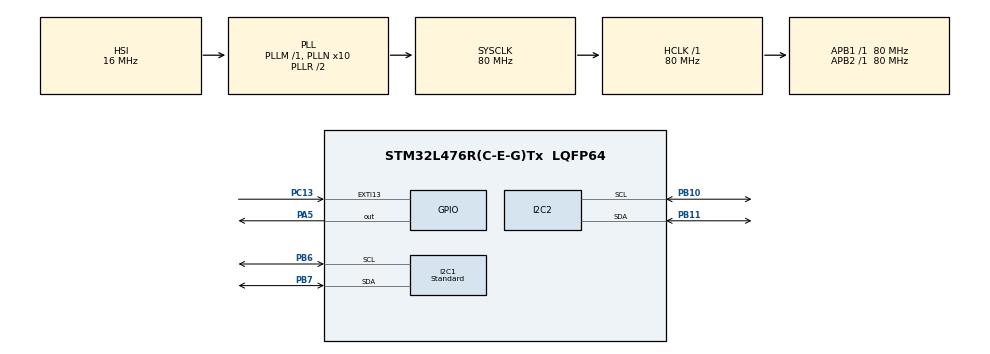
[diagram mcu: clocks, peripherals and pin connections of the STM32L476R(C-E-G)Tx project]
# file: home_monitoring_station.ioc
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I2C1.I2C_Speed_Mode=I2C_Standard
I2C1.Timing=0x10D19CE4
I2C2.Timing=0x10D19CE4
Mcu.Family=STM32L4
Mcu.Name=STM32L476R(C-E-G)Tx
Mcu.Package=LQFP64
NUCLEO-L476RG.BUTTON=1
NUCLEO-L476RG.LD2=true
NVIC.EXTI15_10_IRQn=true\:0\:0\:false\:false\:true\:false\:true\:true
NVIC.PriorityGroup=NVIC_PRIORITYGROUP_4
NVIC.TIM6_DAC_IRQn=true\:0\:0\:false\:false\:true\:true\:true\:true
NVIC.TIM7_IRQn=true\:0\:0\:false\:false\:true\:true\:true\:true
PA13\ (JTMS-SWDIO).GPIO_Label=TMS
PA13\ (JTMS-SWDIO).Signal=SYS_JTMS-SWDIO
PA14\ (JTCK-SWCLK).GPIO_Label=TCK
PA14\ (JTCK-SWCLK).Signal=SYS_JTCK-SWCLK
PA2.GPIO_Label=USART_TX
PA2.GPIO_Mode=GPIO_MODE_AF_PP
PA2.GPIO_PuPd=GPIO_NOPULL
PA2.GPIO_Speed=GPIO_SPEED_FREQ_VERY_HIGH
PA2.Signal=USART2_TX
PA3.GPIO_Label=USART_RX
PA3.GPIO_Mode=GPIO_MODE_AF_PP
PA3.GPIO_PuPd=GPIO_NOPULL
PA3.GPIO_Speed=GPIO_SPEED_FREQ_VERY_HIGH
PA3.Signal=USART2_RX
PA5.Signal=GPIO_Output
PB10.Mode=I2C
PB10.Signal=I2C2_SCL
PB11.Mode=I2C
PB11.Signal=I2C2_SDA
PB3\ (JTDO-TRACESWO).GPIO_Label=SWO
PB3\ (JTDO-TRACESWO).Signal=SYS_JTDO-SWO
PB6.Mode=I2C
PB6.Signal=I2C1_SCL
PB7.Mode=I2C
PB7.Signal=I2C1_SDA
PC13.Signal=GPXTI13
PC14-OSC32_IN\ (PC14).Signal=RCC_OSC32_IN
PC15-OSC32_OUT\ (PC15).Signal=RCC_OSC32_OUT
PH0-OSC_IN\ (PH0).Signal=RCC_OSC_IN
PH1-OSC_OUT\ (PH1).Signal=RCC_OSC_OUT
ProjectManager.HeapSize=0x200
ProjectManager.StackSize=0x400
ProjectManager.TargetToolchain=CMake
RCC.ADCFreq_Value=64000000
RCC.AHBFreq_Value=80000000
RCC.APB1Freq_Value=80000000
RCC.APB1TimFreq_Value=80000000
RCC.APB2Freq_Value=80000000
RCC.APB2TimFreq_Value=80000000
RCC.CortexFreq_Value=80000000
RCC.HCLKFreq_Value=80000000
RCC.HSE_VALUE=8000000
RCC.HSI_VALUE=16000000
RCC.LSE_VALUE=32768
RCC.MSI_VALUE=4000000
RCC.PLLN=10
RCC.PLLSourceVirtual=RCC_PLLSOURCE_HSI
RCC.PREFETCH_ENABLE=1
RCC.SYSCLKFreq_VALUE=80000000
RCC.SYSCLKSource=RCC_SYSCLKSOURCE_PLLCLK
RCC.USBFreq_Value=64000000
RCC.VCOOutputFreq_Value=160000000
TIM6.Period=655
TIM6.Prescaler=1279
TIM7.Prescaler=159
VP_NUCLEO-L476RG_VS_BSP_COMMON.Mode=COMMON
VP_TIM6_VS_ClockSourceINT.Mode=Enable_Timer
VP_TIM7_VS_ClockSourceINT.Mode=Enable_Timer
board=NUCLEO-L476RG

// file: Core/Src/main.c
/* USER CODE BEGIN Header */
/**
  ******************************************************************************
  * @file           : main.c
  * @brief          : Main program body
  ******************************************************************************
  * @attention
  *
  * Copyright (c) 2026 STMicroelectronics.
  * All rights reserved.
  *
  * This software is licensed under terms that can be found in the LICENSE file
  * in the root directory of this software component.
  * If no LICENSE file comes with this software, it is provided AS-IS.
  *
  ******************************************************************************
  */
/* USER CODE END Header */
#include "main.h"

/* USER CODE BEGIN Includes */
#include "sh1106.h"
#include "bmp280.h"
#include "stm32l4xx_hal_tim.h"
#include <stdbool.h>
/* USER CODE END Includes */

I2C_HandleTypeDef hi2c1;
I2C_HandleTypeDef hi2c2;

TIM_HandleTypeDef htim6;
TIM_HandleTypeDef htim7;

/* USER CODE BEGIN PV */
// tim6 -> temp monitoring timer
static volatile bool temp_monitoring_flag = false;
// tim7 -> screen timer
static volatile bool screen_timer_flag = false;
uint8_t TX_Buffer_1 [] = "dupa";
uint8_t TX_Buffer_2 [] = "dupa2";
/* USER CODE END PV */

void SystemClock_Config(void);
static void MX_GPIO_Init(void);
static void MX_I2C1_Init(void);
static void MX_TIM6_Init(void);
static void MX_TIM7_Init(void);
static void MX_I2C2_Init(void);

/* USER CODE BEGIN 0 */
void HAL_TIM_PeriodElapsedCallback(TIM_HandleTypeDef *htim)
{
    if (htim->Instance == TIM6)
    {
        temp_monitoring_flag = 1;
    }
    else if (htim->Instance == TIM7)
    {
        screen_timer_flag = 1;
    }
}

void UpdateScreen(void)
{
    if (BMP280_ReadMeasurements() != HAL_OK)
        return;

    float temperature = BMP280_GetTemp();
    float pressure = BMP280_GetPressure();

    SH1106_PrintMeasurements(
        &hi2c1,
        temperature,
        pressure
    );
}
/* USER CODE END 0 */

int main(void)
{

  /* MCU Configuration--------------------------------------------------------*/

  /* Reset of all peripherals, Initializes the Flash interface and the Systick. */
  HAL_Init();

  /* Configure the system clock */
  SystemClock_Config();

  /* Initialize all configured peripherals */
  MX_GPIO_Init();
  MX_I2C1_Init();
  MX_TIM6_Init();
  MX_TIM7_Init();
  MX_I2C2_Init();
  /* USER CODE BEGIN 2 */
  if (SH1106_Init(&hi2c1) != HAL_OK)
  {
    Error_Handler();
  }
  if (BMP280_Init(&hi2c2) != HAL_OK) {
    Error_Handler();
  }
  if (HAL_TIM_Base_Start_IT(&htim6) != HAL_OK)
  {
    Error_Handler();
  }
  if (HAL_TIM_Base_Start_IT(&htim7) != HAL_OK)
  {
    Error_Handler();
  }
  /* USER CODE END 2 */

  /* Initialize leds */
  BSP_LED_Init(LED_GREEN);

  /* Initialize USER push-button, will be used to trigger an interrupt each time it's pressed.*/
  BSP_PB_Init(BUTTON_USER, BUTTON_MODE_EXTI);

  /* Infinite loop */
  /* USER CODE BEGIN WHILE */
  while (1)
  {
    if (temp_monitoring_flag) {
      BMP280_ReadMeasurements();
      temp_monitoring_flag = false;
    }
    if (screen_timer_flag) {
      UpdateScreen();
      screen_timer_flag = false;
    }
    /* USER CODE END WHILE */

  }
}

void SystemClock_Config(void)
{
  RCC_OscInitTypeDef RCC_OscInitStruct = {0};
  RCC_ClkInitTypeDef RCC_ClkInitStruct = {0};

  /** Configure the main internal regulator output voltage
  */
  if (HAL_PWREx_ControlVoltageScaling(PWR_REGULATOR_VOLTAGE_SCALE1) != HAL_OK)
  {
    Error_Handler();
  }

  /** Initializes the RCC Oscillators according to the specified parameters
  * in the RCC_OscInitTypeDef structure.
  */
  RCC_OscInitStruct.OscillatorType = RCC_OSCILLATORTYPE_HSI;
  RCC_OscInitStruct.HSIState = RCC_HSI_ON;
  RCC_OscInitStruct.HSICalibrationValue = RCC_HSICALIBRATION_DEFAULT;
  RCC_OscInitStruct.PLL.PLLState = RCC_PLL_ON;
  RCC_OscInitStruct.PLL.PLLSource = RCC_PLLSOURCE_HSI;
  RCC_OscInitStruct.PLL.PLLM = 1;
  RCC_OscInitStruct.PLL.PLLN = 10;
  RCC_OscInitStruct.PLL.PLLP = RCC_PLLP_DIV7;
  RCC_OscInitStruct.PLL.PLLQ = RCC_PLLQ_DIV2;
  RCC_OscInitStruct.PLL.PLLR = RCC_PLLR_DIV2;
  if (HAL_RCC_OscConfig(&RCC_OscInitStruct) != HAL_OK)
  {
    Error_Handler();
  }

  /** Initializes the CPU, AHB and APB buses clocks
  */
  RCC_ClkInitStruct.ClockType = RCC_CLOCKTYPE_HCLK|RCC_CLOCKTYPE_SYSCLK
                              |RCC_CLOCKTYPE_PCLK1|RCC_CLOCKTYPE_PCLK2;
  RCC_ClkInitStruct.SYSCLKSource = RCC_SYSCLKSOURCE_PLLCLK;
  RCC_ClkInitStruct.AHBCLKDivider = RCC_SYSCLK_DIV1;
  RCC_ClkInitStruct.APB1CLKDivider = RCC_HCLK_DIV1;
  RCC_ClkInitStruct.APB2CLKDivider = RCC_HCLK_DIV1;

  if (HAL_RCC_ClockConfig(&RCC_ClkInitStruct, FLASH_LATENCY_4) != HAL_OK)
  {
    Error_Handler();
  }
}

static void MX_I2C1_Init(void)
{

  hi2c1.Instance = I2C1;
  hi2c1.Init.Timing = 0x10D19CE4;
  hi2c1.Init.OwnAddress1 = 0;
  hi2c1.Init.AddressingMode = I2C_ADDRESSINGMODE_7BIT;
  hi2c1.Init.DualAddressMode = I2C_DUALADDRESS_DISABLE;
  hi2c1.Init.OwnAddress2 = 0;
  hi2c1.Init.OwnAddress2Masks = I2C_OA2_NOMASK;
  hi2c1.Init.GeneralCallMode = I2C_GENERALCALL_DISABLE;
  hi2c1.Init.NoStretchMode = I2C_NOSTRETCH_DISABLE;
  if (HAL_I2C_Init(&hi2c1) != HAL_OK)
  {
    Error_Handler();
  }

  /** Configure Analogue filter
  */
  if (HAL_I2CEx_ConfigAnalogFilter(&hi2c1, I2C_ANALOGFILTER_ENABLE) != HAL_OK)
  {
    Error_Handler();
  }

  /** Configure Digital filter
  */
  if (HAL_I2CEx_ConfigDigitalFilter(&hi2c1, 0) != HAL_OK)
  {
    Error_Handler();
  }

}

static void MX_I2C2_Init(void)
{

  hi2c2.Instance = I2C2;
  hi2c2.Init.Timing = 0x10D19CE4;
  hi2c2.Init.OwnAddress1 = 0;
  hi2c2.Init.AddressingMode = I2C_ADDRESSINGMODE_7BIT;
  hi2c2.Init.DualAddressMode = I2C_DUALADDRESS_DISABLE;
  hi2c2.Init.OwnAddress2 = 0;
  hi2c2.Init.OwnAddress2Masks = I2C_OA2_NOMASK;
  hi2c2.Init.GeneralCallMode = I2C_GENERALCALL_DISABLE;
  hi2c2.Init.NoStretchMode = I2C_NOSTRETCH_DISABLE;
  if (HAL_I2C_Init(&hi2c2) != HAL_OK)
  {
    Error_Handler();
  }

  /** Configure Analogue filter
  */
  if (HAL_I2CEx_ConfigAnalogFilter(&hi2c2, I2C_ANALOGFILTER_ENABLE) != HAL_OK)
  {
    Error_Handler();
  }

  /** Configure Digital filter
  */
  if (HAL_I2CEx_ConfigDigitalFilter(&hi2c2, 0) != HAL_OK)
  {
    Error_Handler();
  }

}

static void MX_TIM6_Init(void)
{

  TIM_MasterConfigTypeDef sMasterConfig = {0};

  htim6.Instance = TIM6;
  htim6.Init.Prescaler = 1279;
  htim6.Init.CounterMode = TIM_COUNTERMODE_UP;
  htim6.Init.Period = 655;
  htim6.Init.AutoReloadPreload = TIM_AUTORELOAD_PRELOAD_DISABLE;
  if (HAL_TIM_Base_Init(&htim6) != HAL_OK)
  {
    Error_Handler();
  }
  sMasterConfig.MasterOutputTrigger = TIM_TRGO_RESET;
  sMasterConfig.MasterSlaveMode = TIM_MASTERSLAVEMODE_DISABLE;
  if (HAL_TIMEx_MasterConfigSynchronization(&htim6, &sMasterConfig) != HAL_OK)
  {
    Error_Handler();
  }

}

static void MX_TIM7_Init(void)
{

  TIM_MasterConfigTypeDef sMasterConfig = {0};

  htim7.Instance = TIM7;
  htim7.Init.Prescaler = 159;
  htim7.Init.CounterMode = TIM_COUNTERMODE_UP;
  htim7.Init.Period = 65535;
  htim7.Init.AutoReloadPreload = TIM_AUTORELOAD_PRELOAD_DISABLE;
  if (HAL_TIM_Base_Init(&htim7) != HAL_OK)
  {
    Error_Handler();
  }
  sMasterConfig.MasterOutputTrigger = TIM_TRGO_RESET;
  sMasterConfig.MasterSlaveMode = TIM_MASTERSLAVEMODE_DISABLE;
  if (HAL_TIMEx_MasterConfigSynchronization(&htim7, &sMasterConfig) != HAL_OK)
  {
    Error_Handler();
  }

}

static void MX_GPIO_Init(void)
{
  GPIO_InitTypeDef GPIO_InitStruct = {0};

  /* GPIO Ports Clock Enable */
  __HAL_RCC_GPIOC_CLK_ENABLE();
  __HAL_RCC_GPIOH_CLK_ENABLE();
  __HAL_RCC_GPIOA_CLK_ENABLE();
  __HAL_RCC_GPIOB_CLK_ENABLE();

  /*Configure GPIO pins : USART_TX_Pin USART_RX_Pin */
  GPIO_InitStruct.Pin = USART_TX_Pin|USART_RX_Pin;
  GPIO_InitStruct.Mode = GPIO_MODE_AF_PP;
  GPIO_InitStruct.Pull = GPIO_NOPULL;
  GPIO_InitStruct.Speed = GPIO_SPEED_FREQ_VERY_HIGH;
  GPIO_InitStruct.Alternate = GPIO_AF7_USART2;
  HAL_GPIO_Init(GPIOA, &GPIO_InitStruct);

}

void Error_Handler(void)
{
  __disable_irq();
  while (1)
  {
  }
}
